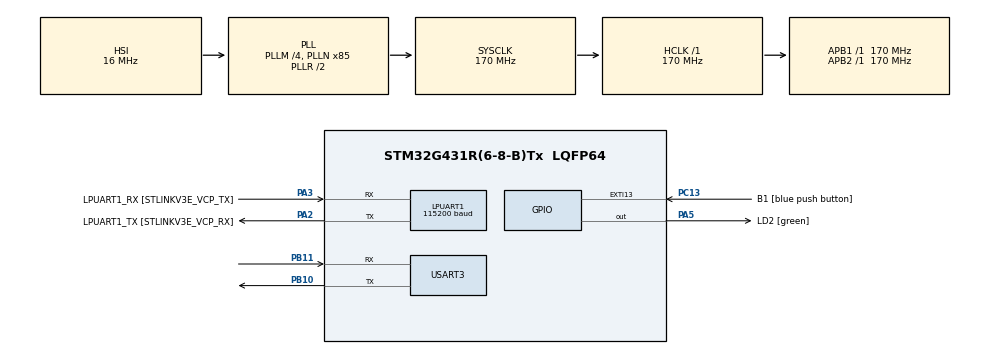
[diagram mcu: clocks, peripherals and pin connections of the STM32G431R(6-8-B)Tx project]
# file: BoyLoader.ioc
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Dma.Request0=USART3_RX
Dma.USART3_RX.0.Direction=DMA_PERIPH_TO_MEMORY
Dma.USART3_RX.0.EventEnable=DISABLE
Dma.USART3_RX.0.Instance=DMA1_Channel1
Dma.USART3_RX.0.MemDataAlignment=DMA_MDATAALIGN_BYTE
Dma.USART3_RX.0.MemInc=DMA_MINC_ENABLE
Dma.USART3_RX.0.Mode=DMA_NORMAL
Dma.USART3_RX.0.PeriphDataAlignment=DMA_PDATAALIGN_BYTE
Dma.USART3_RX.0.PeriphInc=DMA_PINC_DISABLE
Dma.USART3_RX.0.Polarity=HAL_DMAMUX_REQ_GEN_RISING
Dma.USART3_RX.0.Priority=DMA_PRIORITY_LOW
Dma.USART3_RX.0.RequestNumber=1
Dma.USART3_RX.0.SignalID=NONE
Dma.USART3_RX.0.SyncEnable=DISABLE
Dma.USART3_RX.0.SyncPolarity=HAL_DMAMUX_SYNC_NO_EVENT
Dma.USART3_RX.0.SyncRequestNumber=1
Dma.USART3_RX.0.SyncSignalID=NONE
FREERTOS.Tasks01=at_downloadfile,24,128,at_download_file_task,Default,NULL,Dynamic,NULL,NULL
LPUART1.BaudRate=115200
Mcu.Family=STM32G4
Mcu.Name=STM32G431R(6-8-B)Tx
Mcu.Package=LQFP64
NVIC.DMA1_Channel1_IRQn=true\:10\:0\:true\:false\:true\:true\:false\:true
NVIC.PriorityGroup=NVIC_PRIORITYGROUP_4
NVIC.USART3_IRQn=true\:14\:0\:true\:false\:true\:false\:true\:true
PA13.GPIO_Label=T_SWDIO
PA13.Signal=SYS_JTMS-SWDIO
PA14.GPIO_Label=T_SWCLK
PA14.Signal=SYS_JTCK-SWCLK
PA2.GPIO_Label=LPUART1_TX [STLINKV3E_VCP_RX]
PA2.Mode=Asynchronous
PA2.Signal=LPUART1_TX
PA3.GPIO_Label=LPUART1_RX [STLINKV3E_VCP_TX]
PA3.Mode=Asynchronous
PA3.Signal=LPUART1_RX
PA5.GPIO_Label=LD2 [green]
PA5.Signal=GPIO_Output
PB10.Mode=Asynchronous
PB10.Signal=USART3_TX
PB11.GPIO_ModeDefaultPP=GPIO_MODE_AF_PP
PB11.GPIO_PuPd=GPIO_PULLUP
PB11.Mode=Asynchronous
PB11.Signal=USART3_RX
PB3.GPIO_Label=T_SWO
PB3.Signal=SYS_JTDO-SWO
PC13.GPIO_Label=B1 [blue push button]
PC13.Signal=GPXTI13
PC14-OSC32_IN.Signal=RCC_OSC32_IN
PC15-OSC32_OUT.Signal=RCC_OSC32_OUT
PF0-OSC_IN.Signal=RCC_OSC_IN
PF1-OSC_OUT.Signal=RCC_OSC_OUT
ProjectManager.HeapSize=0x200
ProjectManager.StackSize=0x400
ProjectManager.TargetToolchain=MDK-ARM V5
RCC.ADC12Freq_Value=170000000
RCC.AHBFreq_Value=170000000
RCC.APB1Freq_Value=170000000
RCC.APB1TimFreq_Value=170000000
RCC.APB2Freq_Value=170000000
RCC.APB2TimFreq_Value=170000000
RCC.CortexFreq_Value=170000000
RCC.EXTERNAL_CLOCK_VALUE=12288000
RCC.HCLKFreq_Value=170000000
RCC.HSE_VALUE=24000000
RCC.HSI48_VALUE=48000000
RCC.HSI_VALUE=16000000
RCC.LSE_VALUE=32768
RCC.PLLM=RCC_PLLM_DIV4
RCC.PLLN=85
RCC.RTCClockSelection=RCC_RTCCLKSOURCE_LSE
RCC.SYSCLKFreq_VALUE=170000000
RCC.SYSCLKSource=RCC_SYSCLKSOURCE_PLLCLK
RCC.USBFreq_Value=170000000
RCC.VCOOutputFreq_Value=340000000
USART3.VirtualMode-Asynchronous=VM_ASYNC
VP_FREERTOS_VS_CMSIS_V2.Mode=CMSIS_V2
VP_SYS_VS_DBSignals.Mode=DisableDeadBatterySignals
board=NUCLEO-G431RB

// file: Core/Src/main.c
/* USER CODE BEGIN Header */
/**
  ******************************************************************************
  * @file           : main.c
  * @brief          : Main program body
  ******************************************************************************
  * @attention
  *
  * <h2><center>&copy; Copyright (c) 2020 STMicroelectronics.
  * All rights reserved.</center></h2>
  *
  * This software component is licensed by ST under BSD 3-Clause license,
  * the "License"; You may not use this file except in compliance with the
  * License. You may obtain a copy of the License at:
  *                        opensource.org/licenses/BSD-3-Clause
  *
  ******************************************************************************
  */
/* USER CODE END Header */
#include "main.h"
#include "cmsis_os.h"
#include "dma.h"
#include "usart.h"
#include "gpio.h"

void SystemClock_Config(void);
void MX_FREERTOS_Init(void);

int main(void)
{

  /* MCU Configuration--------------------------------------------------------*/

  /* Reset of all peripherals, Initializes the Flash interface and the Systick. */
  HAL_Init();

  /* Configure the system clock */
  SystemClock_Config();

  /* Initialize all configured peripherals */
  MX_GPIO_Init();
  MX_DMA_Init();
  MX_USART3_UART_Init();
  MX_LPUART1_UART_Init();

  /* Init scheduler */
  osKernelInitialize();  /* Call init function for freertos objects (in freertos.c) */
  MX_FREERTOS_Init();
  /* Start scheduler */
  osKernelStart();

  /* We should never get here as control is now taken by the scheduler */
  /* Infinite loop */
  while (1)
  {

  }
}

void SystemClock_Config(void)
{
  RCC_OscInitTypeDef RCC_OscInitStruct = {0};
  RCC_ClkInitTypeDef RCC_ClkInitStruct = {0};
  RCC_PeriphCLKInitTypeDef PeriphClkInit = {0};

  /** Configure the main internal regulator output voltage
  */
  HAL_PWREx_ControlVoltageScaling(PWR_REGULATOR_VOLTAGE_SCALE1_BOOST);
  /** Initializes the RCC Oscillators according to the specified parameters
  * in the RCC_OscInitTypeDef structure.
  */
  RCC_OscInitStruct.OscillatorType = RCC_OSCILLATORTYPE_HSI;
  RCC_OscInitStruct.HSIState = RCC_HSI_ON;
  RCC_OscInitStruct.HSICalibrationValue = RCC_HSICALIBRATION_DEFAULT;
  RCC_OscInitStruct.PLL.PLLState = RCC_PLL_ON;
  RCC_OscInitStruct.PLL.PLLSource = RCC_PLLSOURCE_HSI;
  RCC_OscInitStruct.PLL.PLLM = RCC_PLLM_DIV4;
  RCC_OscInitStruct.PLL.PLLN = 85;
  RCC_OscInitStruct.PLL.PLLP = RCC_PLLP_DIV2;
  RCC_OscInitStruct.PLL.PLLQ = RCC_PLLQ_DIV2;
  RCC_OscInitStruct.PLL.PLLR = RCC_PLLR_DIV2;
  if (HAL_RCC_OscConfig(&RCC_OscInitStruct) != HAL_OK)
  {
    Error_Handler();
  }
  /** Initializes the CPU, AHB and APB buses clocks
  */
  RCC_ClkInitStruct.ClockType = RCC_CLOCKTYPE_HCLK|RCC_CLOCKTYPE_SYSCLK
                              |RCC_CLOCKTYPE_PCLK1|RCC_CLOCKTYPE_PCLK2;
  RCC_ClkInitStruct.SYSCLKSource = RCC_SYSCLKSOURCE_PLLCLK;
  RCC_ClkInitStruct.AHBCLKDivider = RCC_SYSCLK_DIV1;
  RCC_ClkInitStruct.APB1CLKDivider = RCC_HCLK_DIV1;
  RCC_ClkInitStruct.APB2CLKDivider = RCC_HCLK_DIV1;

  if (HAL_RCC_ClockConfig(&RCC_ClkInitStruct, FLASH_LATENCY_4) != HAL_OK)
  {
    Error_Handler();
  }
  /** Initializes the peripherals clocks
  */
  PeriphClkInit.PeriphClockSelection = RCC_PERIPHCLK_USART3|RCC_PERIPHCLK_LPUART1;
  PeriphClkInit.Usart3ClockSelection = RCC_USART3CLKSOURCE_PCLK1;
  PeriphClkInit.Lpuart1ClockSelection = RCC_LPUART1CLKSOURCE_PCLK1;
  if (HAL_RCCEx_PeriphCLKConfig(&PeriphClkInit) != HAL_OK)
  {
    Error_Handler();
  }
}

void Error_Handler(void)
{
}

/************************ (C) COPYRIGHT STMicroelectronics *****END OF FILE****/

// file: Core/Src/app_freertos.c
/* USER CODE BEGIN Header */
/**
  ******************************************************************************
  * File Name          : app_freertos.c
  * Description        : Code for freertos applications
  ******************************************************************************
  * @attention
  *
  * <h2><center>&copy; Copyright (c) 2021 STMicroelectronics.
  * All rights reserved.</center></h2>
  *
  * This software component is licensed by ST under Ultimate Liberty license
  * SLA0044, the "License"; You may not use this file except in compliance with
  * the License. You may obtain a copy of the License at:
  *                             www.st.com/SLA0044
  *
  ******************************************************************************
  */
/* USER CODE END Header */

#include "FreeRTOS.h"
#include "task.h"
#include "main.h"
#include "cmsis_os.h"

/* USER CODE BEGIN Includes */
#include "at_define.h"
#include "at_statemachine.h"
#include "stdio.h"
#include "utils.h"
/* USER CODE END Includes */

/* USER CODE BEGIN Variables */

uint8_t at_buffer1[AT_BUFFER_SIZE];
uint8_t at_buffer2[AT_BUFFER_SIZE];
uint32_t receive_buffer_index = 1;
uint32_t dispose_buffer_index = 1;
/* USER CODE END Variables */
/* Definitions for at_downloadfile */
osThreadId_t at_downloadfileHandle;
const osThreadAttr_t at_downloadfile_attributes = {
  .name = "at_downloadfile",
  .priority = (osPriority_t) osPriorityNormal,
  .stack_size = 128 * 4
};

void at_download_file_task(void *argument);

void MX_FREERTOS_Init(void); /* (MISRA C 2004 rule 8.1) */

void MX_FREERTOS_Init(void) {

  /* Create the thread(s) */
  /* creation of at_downloadfile */
  at_downloadfileHandle = osThreadNew(at_download_file_task, NULL, &at_downloadfile_attributes);

}

void at_download_file_task(void *argument)
{
  /* USER CODE BEGIN at_download_file_task */
  /* Infinite loop */
	nbiot_fsm_state_index_t* current_index_pointer;
	osStatus_t wait_result = osOK;
	int reset_flag = 0;
	int wait_again = 0;
	int wait_time = 0;

	//check the update flag
	if (!should_update()) {
		jump_to_app();
	}

	//init at state machine
	init_statemachine();

	//download the file
	while(1) {

		if (reset_flag) {
			jump_to_app();
			reset_flag = 0;
		}

		// ok and command arrived at different time
		if (!wait_again) {
			current_index_pointer = get_current_state_index();
			current_index_pointer->fsm_state->action1();
			//HAL_Delay(50);
			wait_time = current_index_pointer->fsm_state->wait_time;
		}
		printf("d:%d,r:%d\n", dispose_buffer_index, receive_buffer_index);
		wait_result = osThreadFlagsWait(AT_WAIT_FLAG, osFlagsWaitAny, wait_time);

		//if time out , retry tyrcnt times.
		printf("wait result = %d\n", wait_result);
		if (wait_result == osErrorTimeout) {
			if (current_index_pointer->trycnt < current_index_pointer->fsm_state->try_cnt) {
				current_index_pointer->trycnt++;
				continue;
			} else {
				reset_flag = 1;
				continue;
			}
		} else if (wait_result == AT_RESET_FLAG) {
			reset_flag = 0;
			continue;
		}

		action_result action2_result;
		if (dispose_buffer_index == 1) {
			printf("buffer:%s\n", at_buffer1);
			action2_result = current_index_pointer->fsm_state->action2((char*)at_buffer1);
			dispose_buffer_index = 2;
		} else {
			printf("buffer:%s\n", at_buffer2);
			action2_result = current_index_pointer->fsm_state->action2((char*)at_buffer2);
			dispose_buffer_index = 1;
		}

		if (action2_result == ACTION_REPEAT) {
			wait_again = 0;
			continue;
		} else if (action2_result == ACTION_SUCCESS) {
			wait_again = 0;
			HAL_Delay(current_index_pointer->fsm_state->delay_time);
			jump_to_next_at_statemachine();
		} else if (action2_result == ACTION_WAIT_AGAIN) {
			wait_again = 1;
		} else if (action2_result == ACTION_COMPLETED) {
			jump_to_app();
		} else {
			current_index_pointer->trycnt++;
		}
		printf("number2=%ld, %ld\n", uxTaskGetNumberOfTasks(), uxTaskGetStackHighWaterMark(at_downloadfileHandle));
	}
  /* USER CODE END at_download_file_task */
}

/************************ (C) COPYRIGHT STMicroelectronics *****END OF FILE****/
